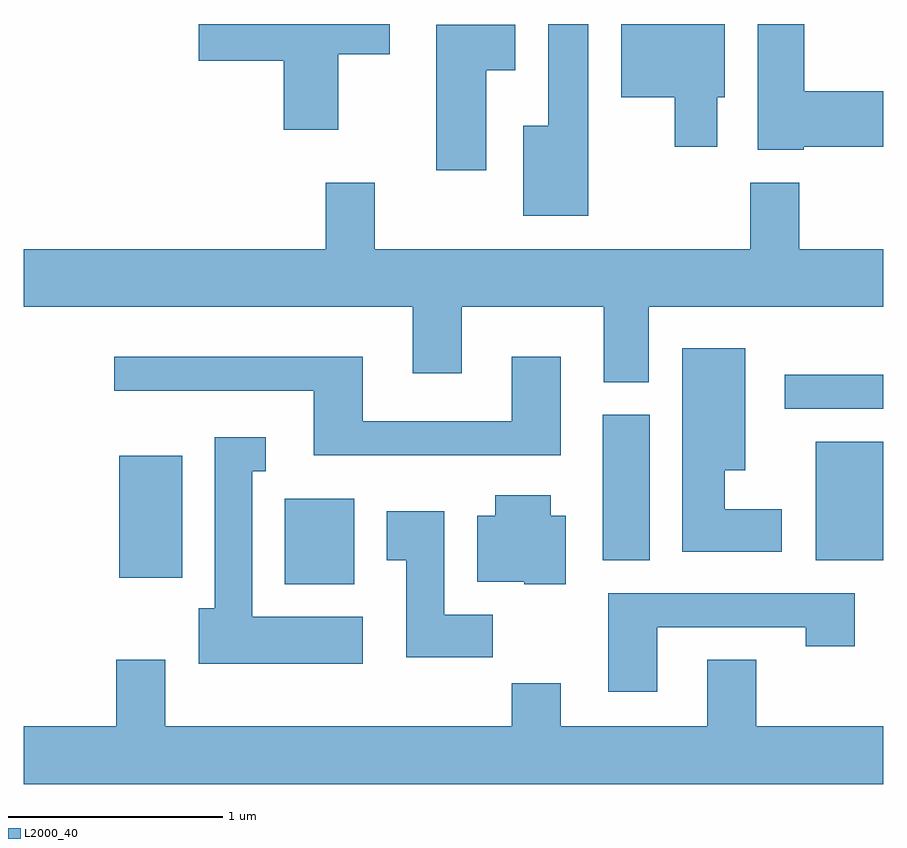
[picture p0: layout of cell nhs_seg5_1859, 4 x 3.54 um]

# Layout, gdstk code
import gdstk
lib = gdstk.Library(unit=1e-6, precision=1e-09)
def R(c, l, rs):  # rectangles x0, y0, x1, y1
    for r in rs: c.add(gdstk.rectangle(r[:2], r[2:], *l))
def P(c, l, *ps):  # polygons
    for p in ps: c.add(gdstk.Polygon(p, *l))
L2000_40 = (2000, 40)

nhs_seg5_1859 = lib.new_cell('nhs_seg5_1859')
R(nhs_seg5_1859, L2000_40, [(240.826,1495.466,241.149,1495.864), (240.056,1495.496,240.349,1496.064), (242.306,1495.576,242.524,1496.254), (243.296,1495.576,243.611,1496.129), (243.153,1496.281,243.611,1496.439)])
P(nhs_seg5_1859, L2000_40, [(242.239,1498.072),(242.051,1498.072),(242.051,1497.599),(241.936,1497.599),(241.936,1497.181),(242.239,1497.181)],
  [(241.074,1497.931),(241.314,1497.931),(241.314,1498.072),(240.426,1498.072),(240.426,1497.901),(240.821,1497.901),(240.821,1497.581),(241.074,1497.581)],
  [(242.839,1497.731),(242.874,1497.731),(242.874,1498.072),(242.391,1498.072),(242.391,1497.731),(242.641,1497.731),(242.641,1497.501),(242.839,1497.501)],
  [(243.24,1497.501),(243.611,1497.501),(243.611,1497.759),(243.244,1497.759),(243.244,1498.072),(243.026,1498.072),(243.026,1497.486),(243.24,1497.486)],
  [(241.764,1497.856),(241.899,1497.856),(241.899,1498.069),(241.531,1498.069),(241.531,1497.391),(241.764,1497.391)],
  [(242.519,1496.756),(243.611,1496.756),(243.611,1497.024),(243.219,1497.024),(243.219,1497.334),(242.991,1497.334),(242.991,1497.024),(241.244,1497.024),(241.244,1497.334),(241.016,1497.334),(241.016,1497.024),(239.611,1497.024),(239.611,1496.756),(241.421,1496.756),(241.421,1496.446),(241.649,1496.446),(241.649,1496.756),(242.311,1496.756),(242.311,1496.406),(242.519,1496.406)],
  [(243.139,1495.814),(242.874,1495.814),(242.874,1495.996),(242.969,1495.996),(242.969,1496.564),(242.676,1496.564),(242.676,1495.616),(243.139,1495.616)],
  [(242.109,1496.524),(241.881,1496.524),(241.881,1496.224),(241.189,1496.224),(241.189,1496.524),(240.033,1496.524),(240.033,1496.366),(240.961,1496.366),(240.961,1496.066),(242.109,1496.066)],
  [(241.189,1495.314),(240.674,1495.314),(240.674,1495.991),(240.738,1495.991),(240.738,1496.149),(240.501,1496.149),(240.501,1495.354),(240.426,1495.354),(240.426,1495.096),(241.189,1495.096)],
  [(242.134,1495.784),(242.064,1495.784),(242.064,1495.879),(241.806,1495.879),(241.806,1495.784),(241.721,1495.784),(241.721,1495.476),(241.94,1495.476),(241.94,1495.466),(242.134,1495.466)],
  [(241.794,1495.324),(241.569,1495.324),(241.569,1495.804),(241.301,1495.804),(241.301,1495.576),(241.391,1495.576),(241.391,1495.126),(241.794,1495.126)],
  [(242.559,1495.266),(243.251,1495.266),(243.251,1495.176),(243.479,1495.176),(243.479,1495.424),(242.331,1495.424),(242.331,1494.966),(242.559,1494.966)],
  [(243.611,1494.804),(243.019,1494.804),(243.019,1495.114),(242.791,1495.114),(242.791,1494.804),(242.109,1494.804),(242.109,1495.004),(241.881,1495.004),(241.881,1494.804),(240.269,1494.804),(240.269,1495.114),(240.041,1495.114),(240.041,1494.804),(239.611,1494.804),(239.611,1494.536),(243.611,1494.536)])

lib.write_gds('nhs_seg5_1859.gds')
